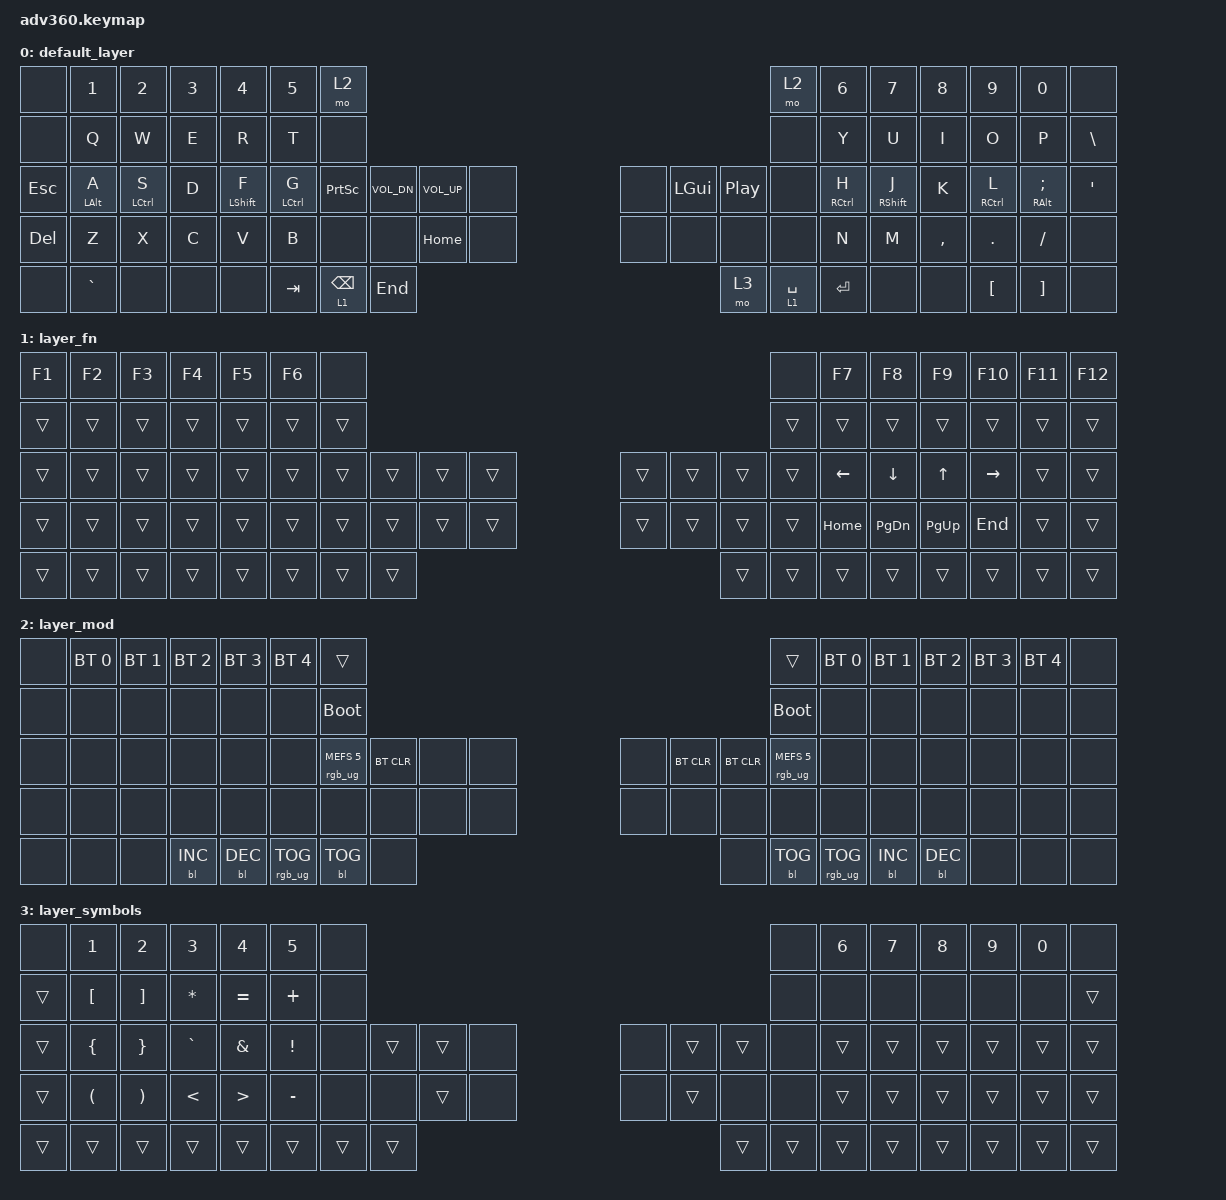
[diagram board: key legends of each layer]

/*
 * Copyright (c) 2020 The ZMK Contributors
 *
 * SPDX-License-Identifier: MIT
 */


/* THIS FILE WAS GENERATED!
 *
 * This file was generated automatically. You may or may not want to
 * edit it directly.
 */

#include <behaviors.dtsi>
#include <dt-bindings/zmk/keys.h>
#include <dt-bindings/zmk/bt.h>
#include <dt-bindings/zmk/rgb.h>
#include <dt-bindings/zmk/backlight.h>

/ {
  behaviors {
    #include "macros.dtsi"

    hm: homerow_mods {
        compatible = "zmk,behavior-hold-tap";
        label = "HOMEROW_MODS";
        #binding-cells = <2>;
        tapping-term-ms = <200>;
        quick_tap_ms = <175>;
        flavor = "tap-preferred";
        bindings = <&kp>, <&kp>;
    };

    lm: layer_mods {
        compatible = "zmk,behavior-hold-tap";
        label = "LAYER_MODS";
        #binding-cells = <2>;
        tapping-term-ms = <225>;
        quick_tap_ms = <200>;
        flavor = "tap-preferred";
        bindings = <&mo>, <&kp>;
    };
  };

    keymap {
        compatible = "zmk,keymap";


        default_layer {
            bindings = <
   &none          &kp N1       &kp N2  &kp N3            &kp N4  &kp N5                      &mo 2                                                                                &mo 2  &kp N6             &kp N7     &kp N8               &kp N9                   &kp N0     &none
   &none           &kp Q        &kp W   &kp E             &kp R   &kp T                      &none                                                                                &none   &kp Y              &kp U      &kp I                &kp O                    &kp P  &kp BSLH
 &kp ESC  &hm LEFT_ALT A  &hm LCTRL S   &kp D  &hm LEFT_SHIFT F   &hm LCTRL G            &kp PRINTSCREEN   &kp C_VOL_DN  &kp C_VOL_UP   &none   &none   &kp LGUI  &kp C_PLAY_PAUSE      &none   &hm RIGHT_CONTROL H  &hm RIGHT_SHIFT J      &kp K  &hm RIGHT_CONTROL L  &hm RIGHT_ALT SEMICOLON   &kp SQT
   &kp DEL           &kp Z        &kp X   &kp C             &kp V   &kp B                      &none          &none      &kp HOME   &none   &none         &none     &none      &none   &kp N              &kp M  &kp COMMA              &kp DOT                 &kp FSLH     &none
   &none       &kp GRAVE        &none   &none             &none                            &kp TAB  &lm 1 BACKSPACE       &kp END                  &mo 3           &lm 1 SPACE  &kp ENTER                      &none      &none             &kp LBKT                 &kp RBKT     &none
            >;
        };

        layer_fn {
            bindings = <
 &kp F1     &kp F2     &kp F3     &kp F4     &kp F5     &kp F6     &none                                                                                                         &none      &kp F7       &kp F8            &kp F9          &kp F10       &kp F11    &kp F12
 &trans     &trans     &trans     &trans     &trans     &trans     &trans                                                                                                        &trans     &trans       &trans            &trans          &trans        &trans     &trans
 &trans     &trans     &trans     &trans     &trans     &trans     &trans     &trans     &trans     &trans                                      &trans     &trans     &trans     &trans     &kp LEFT     &kp DOWN          &kp UP          &kp RIGHT     &trans     &trans
 &trans     &trans     &trans     &trans     &trans     &trans     &trans     &trans     &trans     &trans                                      &trans     &trans     &trans     &trans     &kp HOME     &kp PAGE_DOWN     &kp PAGE_UP     &kp END       &trans     &trans
 &trans     &trans     &trans     &trans     &trans     &trans     &trans     &trans                                                                                  &trans     &trans     &trans       &trans            &trans          &trans        &trans     &trans
            >;
        };

        layer_mod {
            bindings = <
  &none  &bt BT_SEL 0  &bt BT_SEL 1  &bt BT_SEL 2  &bt BT_SEL 3  &bt BT_SEL 4                            &trans                                                                              &trans  &bt BT_SEL 0  &bt BT_SEL 1  &bt BT_SEL 2  &bt BT_SEL 3  &bt BT_SEL 4   &none
  &none         &none         &none         &none         &none         &none                       &bootloader                                                                         &bootloader         &none         &none         &none         &none         &none   &none
  &none         &none         &none         &none         &none         &none            &rgb_ug RGB_MEFS_CMD 5  &bt BT_CLR   &none   &none   &none  &bt BT_CLR  &bt BT_CLR  &rgb_ug RGB_MEFS_CMD 5         &none         &none         &none         &none         &none   &none
  &none         &none         &none         &none         &none         &none                             &none       &none   &none   &none   &none       &none       &none                   &none         &none         &none         &none         &none         &none   &none
  &none         &none         &none    &bl BL_INC    &bl BL_DEC                                 &rgb_ug RGB_TOG  &bl BL_TOG   &none                       &none  &bl BL_TOG         &rgb_ug RGB_TOG                  &bl BL_INC    &bl BL_DEC         &none         &none   &none
            >;
        };

        layer_symbols {
            bindings = <
   &none          &kp N1       &kp N2  &kp N3            &kp N4  &kp N5                      &none                                                                                &none  &kp N6             &kp N7     &kp N8               &kp N9                   &kp N0     &none
 &trans      &kp LEFT_BRACKET      &kp RIGHT_BRACKET       &kp STAR         &kp EQUAL         &kp PLUS             &none                                                   &none     &none          &none        &none      &none    &none   &trans
 &trans        &kp LEFT_BRACE        &kp RIGHT_BRACE      &kp GRAVE     &kp AMPERSAND  &kp EXCLAMATION             &none  &trans  &trans   &none   &none  &trans  &trans   &none  &trans       &trans       &trans  &trans   &trans   &trans
 &trans  &kp LEFT_PARENTHESIS  &kp RIGHT_PARENTHESIS  &kp LESS_THAN  &kp GREATER_THAN        &kp MINUS             &none   &none  &trans   &none   &none  &trans   &none   &none  &trans  &trans  &trans    &trans   &trans   &trans
 &trans                &trans                 &trans         &trans            &trans                             &trans  &trans  &trans                  &trans  &trans  &trans                   &trans       &trans     &trans   &trans   &trans
            >;
        };

    };
};
